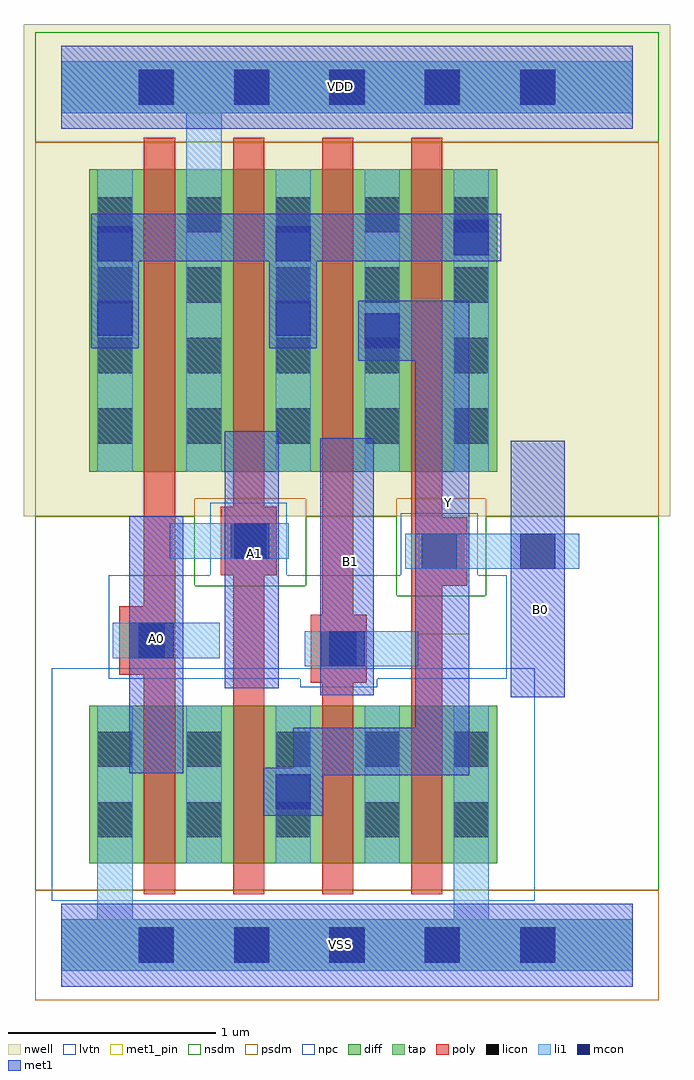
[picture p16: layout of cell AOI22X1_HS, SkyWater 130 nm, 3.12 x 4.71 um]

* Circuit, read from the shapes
.subckt AOI22X1_HS A0 A1 B0 B1 VDD VSS Y
XM1 n1 A0 VSS VSS sky130_fd_pr__nfet_01v8_lvt w=0.76 l=0.15
XM2 Y A1 n1 VSS sky130_fd_pr__nfet_01v8_lvt w=0.76 l=0.15
XM3 n2 B1 Y VSS sky130_fd_pr__nfet_01v8_lvt w=0.76 l=0.15
XM4 VSS B0 n2 VSS sky130_fd_pr__nfet_01v8_lvt w=0.76 l=0.15
XM5 VDD A0 n3 VDD sky130_fd_pr__pfet_01v8 w=1.46 l=0.15
XM6 n3 A1 VDD VDD sky130_fd_pr__pfet_01v8 w=1.46 l=0.15
XM7 Y B1 n3 VDD sky130_fd_pr__pfet_01v8 w=1.46 l=0.15
XM8 n3 B0 Y VDD sky130_fd_pr__pfet_01v8 w=1.46 l=0.15
.ends

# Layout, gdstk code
import gdstk
lib = gdstk.Library(unit=1e-6, precision=1e-09)
def R(c, l, rs):  # rectangles x0, y0, x1, y1
    for r in rs: c.add(gdstk.rectangle(r[:2], r[2:], *l))
def A(c, l, x, y, w, h, nx, ny, dx, dy):  # array of equal rectangles
    R(c, l, [(x+i*dx, y+j*dy, x+i*dx+w, y+j*dy+h) for i in range(nx) for j in range(ny)])
def P(c, l, *ps):  # polygons
    for p in ps: c.add(gdstk.Polygon(p, *l))
nwell = (64, 20)
diff = (65, 20)
tap = (65, 44)
poly = (66, 20)
licon = (66, 44)
li1 = (67, 20)
mcon = (67, 44)
met1_pin = (68, 16)
met1 = (68, 20)
nsdm = (93, 44)
psdm = (94, 20)
npc = (95, 20)
lvtn = (125, 44)

l1m1_c_cdns_750721774072 = lib.new_cell('L1M1_C_CDNS_750721774072')
R(l1m1_c_cdns_750721774072, li1, [(-0.085,-0.165,0.085,0.165)])
R(l1m1_c_cdns_750721774072, mcon, [(-0.085,-0.085,0.085,0.085)])
R(l1m1_c_cdns_750721774072, met1, [(-0.115,-0.145,0.115,0.145)])

l1m1_c_cdns_750721774071 = lib.new_cell('L1M1_C_CDNS_7507217740713')
R(l1m1_c_cdns_750721774071, li1, [(-0.085,-0.165,0.085,0.165)])
R(l1m1_c_cdns_750721774071, mcon, [(-0.085,-0.085,0.085,0.085)])
R(l1m1_c_cdns_750721774071, met1, [(-0.145,-0.115,0.145,0.115)])

licondiff_c_cdns_7507217 = lib.new_cell('LICONDIFF_C_CDNS_750721774075')
R(licondiff_c_cdns_7507217, diff, [(-0.125,-0.145,0.125,0.145)])
R(licondiff_c_cdns_7507217, licon, [(-0.085,-0.085,0.085,0.085), (-0.085,-0.085,0.085,0.085)])

pyl1con_c_cdns_750721774 = lib.new_cell('PYL1CON_C_CDNS_750721774073')
R(pyl1con_c_cdns_750721774, poly, [(-0.135,-0.165,0.135,0.165)])
R(pyl1con_c_cdns_750721774, licon, [(-0.085,-0.085,0.085,0.085)])
R(pyl1con_c_cdns_750721774, npc, [(-0.185,-0.185,0.185,0.185)])

c_l1m1_c_cdns_750721774072 = lib.new_cell('L1M1_C_CDNS_7507217740721')
R(c_l1m1_c_cdns_750721774072, li1, [(-0.085,-0.085,0.085,0.085)])
R(c_l1m1_c_cdns_750721774072, mcon, [(-0.085,-0.085,0.085,0.085)])
R(c_l1m1_c_cdns_750721774072, met1, [(-0.145,-0.115,0.145,0.115)])

l1m1_c_cdns_750721774074 = lib.new_cell('L1M1_C_CDNS_750721774074')
R(l1m1_c_cdns_750721774074, li1, [(-0.165,-0.085,0.165,0.085)])
R(l1m1_c_cdns_750721774074, mcon, [(-0.085,-0.085,0.085,0.085)])
R(l1m1_c_cdns_750721774074, met1, [(-0.115,-0.145,0.115,0.145)])

l1m1_c_cdns_750721774076 = lib.new_cell('L1M1_C_CDNS_750721774076')
R(l1m1_c_cdns_750721774076, li1, [(-0.085,-0.345,0.085,0.345)])
R(l1m1_c_cdns_750721774076, mcon, [(-0.085,-0.265,0.085,-0.095), (-0.085,0.095,0.085,0.265)])
R(l1m1_c_cdns_750721774076, met1, [(-0.115,-0.325,0.115,0.325)])

aoi22x1_hs = lib.new_cell('AOI22X1_HS')
R(aoi22x1_hs, nwell, [(-0.18,2.07,2.94,4.305), (-0.045,2.105,0.955,3.925), (0.595,2.105,1.385,3.925), (1.025,2.105,1.815,3.925), (1.455,2.105,2.285,3.925), (-0.18,3.875,2.94,4.445)])
A(aoi22x1_hs, diff, 0.4, 0.395, 0.15, 0.76, 4, 1, 0.43, 0)
A(aoi22x1_hs, diff, 0.4, 2.285, 0.15, 1.46, 4, 1, 0.43, 0)
A(aoi22x1_hs, diff, 0.55, 2.285, 0.225, 1.46, 3, 1, 0.43, 0)
A(aoi22x1_hs, diff, 0.775, 2.285, 0.055, 1.46, 3, 1, 0.43, 0)
R(aoi22x1_hs, diff, [(0.135,0.395,0.4,1.155), (0.55,0.395,0.605,1.155), (0.605,0.395,0.83,1.155), (0.98,0.395,1.205,1.155), (1.205,0.395,1.26,1.155), (1.41,0.395,1.635,1.155), (1.635,0.395,1.69,1.155), (1.84,0.395,2.105,1.155), (0.135,2.285,0.4,3.745), (1.84,2.285,2.105,3.745)])
A(aoi22x1_hs, poly, 0.4, 0.245, 0.15, 0.055, 4, 2, 0.43, 1.005)
A(aoi22x1_hs, poly, 0.4, 0.3, 0.15, 0.095, 4, 2, 0.43, 0.855)
A(aoi22x1_hs, poly, 0.4, 0.395, 0.15, 0.76, 4, 1, 0.43, 0)
A(aoi22x1_hs, poly, 0.4, 2.135, 0.15, 0.055, 4, 2, 0.43, 1.705)
A(aoi22x1_hs, poly, 0.4, 2.19, 0.15, 0.095, 4, 2, 0.43, 1.555)
A(aoi22x1_hs, poly, 0.4, 2.285, 0.15, 1.46, 4, 1, 0.43, 0)
A(aoi22x1_hs, licon, 0.375, -0.085, 0.17, 0.17, 5, 2, 0.46, 4.14)
A(aoi22x1_hs, licon, 0.175, 0.52, 0.17, 0.17, 3, 2, 0.86, 0.34)
A(aoi22x1_hs, licon, 0.175, 2.42, 0.17, 0.17, 5, 4, 0.43, 0.34)
A(aoi22x1_hs, li1, 0.175, 0.395, 0.17, 0.76, 3, 1, 0.86, 0)
A(aoi22x1_hs, li1, 0.175, 2.285, 0.17, 1.46, 5, 1, 0.43, 0)
A(aoi22x1_hs, mcon, 0.375, -0.085, 0.17, 0.17, 5, 2, 0.46, 4.14)
R(aoi22x1_hs, met1_pin, [(0.33,0.83,0.59,2.07), (2.17,1.195,2.43,2.435), (1.25,1.205,1.51,2.445), (0.79,1.24,1.05,2.48), (1.71,1.5,1.97,3.11)])
R(aoi22x1_hs, met1, [(1.435,2.82,1.97,3.11)])
R(aoi22x1_hs, nsdm, [(-0.005,0.265,0.615,1.285), (0.595,0.265,1.215,1.285), (1.195,0.265,1.645,1.285), (1.625,0.265,2.245,1.285), (-0.125,3.875,2.885,4.405), (-0.125,3.93,2.885,4.35)])
P(aoi22x1_hs, nsdm, [(2.885,2.07),(2.05,2.07),(2.05,1.685),(1.62,1.685),(1.62,2.07),(1.18,2.07),(1.18,1.735),(0.645,1.735),(0.645,2.07),(-0.125,2.07),(-0.125,0.265),(2.885,0.265)])
R(aoi22x1_hs, psdm, [(-0.125,-0.265,2.885,0.265), (-0.125,-0.21,2.885,0.21), (-0.005,2.155,0.785,3.875), (0.765,2.155,1.215,3.875), (1.195,2.155,1.645,3.875), (1.625,2.155,2.245,3.875)])
P(aoi22x1_hs, psdm, [(2.885,3.875),(-0.125,3.875),(-0.125,2.07),(0.645,2.07),(0.645,2.155),(1.18,2.155),(1.18,2.07),(1.62,2.07),(1.62,2.155),(2.05,2.155),(2.05,2.07),(2.885,2.07)])
R(aoi22x1_hs, npc, [(0.23,1.285,2.15,1.785)])
R(aoi22x1_hs, lvtn, [(-0.045,0.215,0.785,1.335), (0.425,0.215,1.385,1.335), (1.025,0.215,1.815,1.335), (1.455,0.215,2.285,1.335)])
aoi22x1_hs.add(gdstk.FlexPath([(0,0),(0.69,0)], 0.25, ends=(0, 0.085), simple_path=True, layer=67, datatype=20))  # li1
aoi22x1_hs.add(gdstk.FlexPath([(0.69,0),(2.76,0)], 0.25, ends=(0.085, 0), simple_path=True, layer=67, datatype=20))  # li1
aoi22x1_hs.add(gdstk.FlexPath([(0,4.14),(0.69,4.14)], 0.25, ends=(0, 0.085), simple_path=True, layer=67, datatype=20))  # li1
aoi22x1_hs.add(gdstk.FlexPath([(0.69,4.14),(2.76,4.14)], 0.25, ends=(0.085, 0), simple_path=True, layer=67, datatype=20))  # li1
aoi22x1_hs.add(gdstk.FlexPath([(0.755,1.95),(1.1,1.95)], 0.17, ends="flush", simple_path=True, layer=67, datatype=20))  # li1
aoi22x1_hs.add(gdstk.FlexPath([(0.26,0.59),(0.26,0)], 0.17, ends="flush", simple_path=True, layer=67, datatype=20))  # li1
aoi22x1_hs.add(gdstk.FlexPath([(1.175,1.43),(1.725,1.43)], 0.17, ends="flush", simple_path=True, layer=67, datatype=20))  # li1
aoi22x1_hs.add(gdstk.FlexPath([(2.5,1.9),(1.66,1.9)], 0.17, ends="flush", simple_path=True, layer=67, datatype=20))  # li1
aoi22x1_hs.add(gdstk.FlexPath([(0.69,0.395),(0.69,1.155)], 0.17, ends="flush", simple_path=True, layer=67, datatype=20))  # li1
aoi22x1_hs.add(gdstk.FlexPath([(1.1,1.95),(0.525,1.95)], 0.17, ends="flush", simple_path=True, layer=67, datatype=20))  # li1
aoi22x1_hs.add(gdstk.FlexPath([(0.69,3.55),(0.69,4.14)], 0.17, ends=(0, 0.125), simple_path=True, layer=67, datatype=20))  # li1
aoi22x1_hs.add(gdstk.FlexPath([(0.765,1.47),(0.25,1.47)], 0.17, ends="flush", simple_path=True, layer=67, datatype=20))  # li1
aoi22x1_hs.add(gdstk.FlexPath([(1.98,0.59),(1.98,0)], 0.17, ends="flush", simple_path=True, layer=67, datatype=20))  # li1
aoi22x1_hs.add(gdstk.FlexPath([(0.295,1.47),(0.64,1.47)], 0.17, ends="flush", simple_path=True, layer=67, datatype=20))  # li1
aoi22x1_hs.add(gdstk.FlexPath([(1.215,1.43),(1.56,1.43)], 0.17, ends="flush", simple_path=True, layer=67, datatype=20))  # li1
aoi22x1_hs.add(gdstk.FlexPath([(1.55,0.395),(1.55,1.155)], 0.17, ends="flush", simple_path=True, layer=67, datatype=20))  # li1
aoi22x1_hs.add(gdstk.FlexPath([(1.765,2.135),(1.765,1.305)], 0.15, ends="flush", simple_path=True, layer=66, datatype=20))  # poly
aoi22x1_hs.add(gdstk.FlexPath([(1.335,2.135),(1.335,1.305)], 0.15, ends="flush", simple_path=True, layer=66, datatype=20))  # poly
aoi22x1_hs.add(gdstk.FlexPath([(0.905,2.135),(0.905,1.305)], 0.15, ends="flush", simple_path=True, layer=66, datatype=20))  # poly
aoi22x1_hs.add(gdstk.FlexPath([(0.475,2.135),(0.475,1.305)], 0.15, ends="flush", simple_path=True, layer=66, datatype=20))  # poly
aoi22x1_hs.add(gdstk.FlexPath([(0,4.14),(2.76,4.14)], 0.4, ends="flush", simple_path=True, layer=68, datatype=20))  # met1
aoi22x1_hs.add(gdstk.FlexPath([(2.3,2.435),(2.3,1.195)], 0.26, ends="flush", simple_path=True, layer=68, datatype=20))  # met1
aoi22x1_hs.add(gdstk.FlexPath([(1.38,2.445),(1.38,1.205)], 0.26, ends="flush", simple_path=True, layer=68, datatype=20))  # met1
aoi22x1_hs.add(gdstk.FlexPath([(0.92,2.48),(0.92,1.24)], 0.26, ends="flush", simple_path=True, layer=68, datatype=20))  # met1
aoi22x1_hs.add(gdstk.FlexPath([(0.46,2.07),(0.46,0.83)], 0.26, ends="flush", simple_path=True, layer=68, datatype=20))  # met1
aoi22x1_hs.add(gdstk.FlexPath([(1.84,3.11),(1.84,0.965)], 0.26, ends=(0, 0.145), simple_path=True, layer=68, datatype=20))  # met1
aoi22x1_hs.add(gdstk.FlexPath([(0.26,3.415),(1.98,3.415)], 0.23, ends=(0.115, 0), simple_path=True, layer=68, datatype=20))  # met1
aoi22x1_hs.add(gdstk.FlexPath([(0.26,3.37),(0.26,3.415)], 0.23, ends=(0, 0.115), simple_path=True, layer=68, datatype=20))  # met1
aoi22x1_hs.add(gdstk.FlexPath([(1.84,0.935),(1.12,0.935)], 0.23, ends="flush", simple_path=True, layer=68, datatype=20))  # met1
aoi22x1_hs.add(gdstk.FlexPath([(0,0),(2.76,0)], 0.4, ends="flush", simple_path=True, layer=68, datatype=20))  # met1
aoi22x1_hs.add(gdstk.FlexPath([(0,0),(2.76,0)], 0.25, ends="flush", simple_path=True, layer=65, datatype=44))  # tap
aoi22x1_hs.add(gdstk.FlexPath([(0,4.14),(2.76,4.14)], 0.25, ends="flush", simple_path=True, layer=65, datatype=44))  # tap
aoi22x1_hs.add(gdstk.FlexPath([(0,4.14),(2.76,4.14)], 0.4, ends="flush", simple_path=True, layer=68, datatype=16))  # met1_pin
aoi22x1_hs.add(gdstk.FlexPath([(0,0),(2.76,0)], 0.4, ends="flush", simple_path=True, layer=68, datatype=16))  # met1_pin
aoi22x1_hs.add(gdstk.Reference(l1m1_c_cdns_750721774072, (1.55,2.965)))
aoi22x1_hs.add(gdstk.Reference(l1m1_c_cdns_750721774071, (1.12,0.74)))
aoi22x1_hs.add(gdstk.Reference(licondiff_c_cdns_7507217, (1.55,0.945)))
aoi22x1_hs.add(gdstk.Reference(licondiff_c_cdns_7507217, (1.55,0.605)))
aoi22x1_hs.add(gdstk.Reference(licondiff_c_cdns_7507217, (0.69,0.945)))
aoi22x1_hs.add(gdstk.Reference(licondiff_c_cdns_7507217, (0.69,0.605)))
aoi22x1_hs.add(gdstk.Reference(pyl1con_c_cdns_750721774, (1.34,1.43)))
aoi22x1_hs.add(gdstk.Reference(pyl1con_c_cdns_750721774, (1.825,1.9)))
aoi22x1_hs.add(gdstk.Reference(pyl1con_c_cdns_750721774, (0.905,1.95)))
aoi22x1_hs.add(gdstk.Reference(pyl1con_c_cdns_750721774, (0.415,1.47)))
aoi22x1_hs.add(gdstk.Reference(c_l1m1_c_cdns_750721774072, (1.98,3.415)))
aoi22x1_hs.add(gdstk.Reference(l1m1_c_cdns_750721774074, (1.38,1.43)))
aoi22x1_hs.add(gdstk.Reference(l1m1_c_cdns_750721774074, (2.3,1.9)))
aoi22x1_hs.add(gdstk.Reference(l1m1_c_cdns_750721774074, (0.92,1.95)))
aoi22x1_hs.add(gdstk.Reference(l1m1_c_cdns_750721774074, (0.46,1.47)))
aoi22x1_hs.add(gdstk.Reference(l1m1_c_cdns_750721774076, (1.12,3.205)))
aoi22x1_hs.add(gdstk.Reference(l1m1_c_cdns_750721774076, (0.26,3.205)))
aoi22x1_hs.add(gdstk.Label('VDD', (1.35,4.145), layer=68, texttype=5))
aoi22x1_hs.add(gdstk.Label('Y', (1.87,2.135), layer=68, texttype=5))
aoi22x1_hs.add(gdstk.Label('A1', (0.935,1.89), layer=68, texttype=5))
aoi22x1_hs.add(gdstk.Label('A0', (0.46,1.48), layer=68, texttype=5))
aoi22x1_hs.add(gdstk.Label('B1', (1.395,1.85), layer=68, texttype=5))
aoi22x1_hs.add(gdstk.Label('B0', (2.315,1.62), layer=68, texttype=5))
aoi22x1_hs.add(gdstk.Label('VSS', (1.35,0.005), layer=68, texttype=5))

lib.write_gds('AOI22X1_HS.gds')
